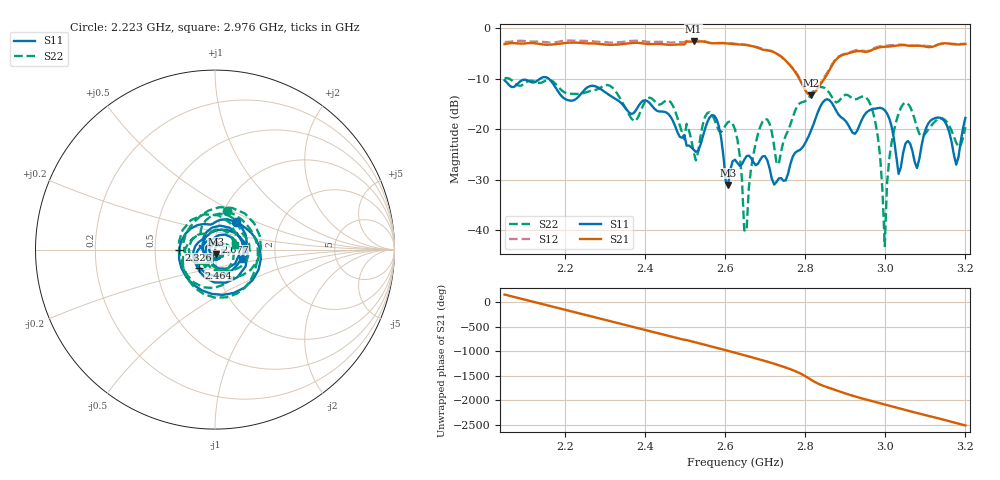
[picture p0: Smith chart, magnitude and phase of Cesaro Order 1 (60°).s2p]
! 1/7/2014 5:28:54 PM
! C:\USERS\VECTORSTARUSER\DESKTOP\GABRIEL SMS\60GRAUS.S2P
! CHANNEL.1
! TR.MEASUREMENT
! RAW.DATA
# GHZ S RI R 50.0
! FREQ.GHZ  S11RE  S11IM  S21RE  S21IM  S12RE  S12IM  S22RE  S22IM
!; PortSelection: Port_12
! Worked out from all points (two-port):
!   201 points, 2.05 GHz to 3.2 GHz, reference 50 ohm
!   highest |S21| = -2.58 dB at 2.522 GHz (marker M1); lowest = -13.2 dB at 2.815 GHz (marker M2)
!   |S21| within 3 dB of the highest: start of sweep to 2.74 GHz; 2.886 GHz to end of sweep
!   lowest |S11| = -31.0 dB at 2.608 GHz (marker M3), VSWR 1.06, Z = 50.6 - j2.76 ohm
!   |S11| at or under -10 dB: start of sweep to 2.138 GHz; 2.16 GHz to end of sweep
!   |S22| runs from -43.2 to -9.8 dB; largest |S21 - S12| = 0.19
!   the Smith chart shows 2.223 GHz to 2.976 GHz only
!   S11 on the Smith chart (normalised r, x): 2.223 GHz: 1.20, +0.39; 2.326 GHz: 0.67, -0.00; 2.464 GHz: 0.82, -0.17; 2.677 GHz: 1.00, +0.09; 2.976 GHz: 1.35, -0.14
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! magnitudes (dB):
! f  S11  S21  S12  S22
! 2.05 GHz  -10.3  -3.1  -2.7  -9.8
! 2.223 GHz  -14.2  -2.8  -2.4  -13.0
! 2.246 GHz  -12.5  -2.9  -2.5  -12.9
! 2.326 GHz  -13.9  -3.2  -2.8  -12.4
! 2.435 GHz  -16.5  -3.1  -2.6  -15.1
! 2.464 GHz  -17.5  -3.3  -2.8  -14.6
! 2.522 GHz  -24.0  -2.6  -2.5  -24.4
! 2.573 GHz  -17.3  -3.0  -2.9  -18.0
! 2.608 GHz  -31.0  -3.0  -2.9  -18.6
! 2.625 GHz  -26.0  -3.2  -3.0  -20.0
! 2.648 GHz  -26.0  -3.3  -3.2  -40.0
! 2.677 GHz  -27.1  -3.7  -3.7  -22.7
! 2.734 GHz  -29.7  -5.3  -5.3  -26.9
! 2.815 GHz  -20.3  -13.2  -13.1  -13.1
! 2.821 GHz  -19.1  -13.0  -12.8  -12.5
! 2.976 GHz  -15.9  -4.0  -3.8  -18.8
! 2.999 GHz  -16.2  -3.7  -3.5  -43.2
! 3.01 GHz  -17.9  -3.6  -3.4  -25.6
! 3.033 GHz  -28.8  -3.4  -3.2  -16.9
! 3.131 GHz  -17.7  -3.3  -3.2  -18.0
! 3.177 GHz  -27.0  -3.2  -3.1  -22.6
! 3.2 GHz  -17.8  -3.1  -3.0  -19.6
